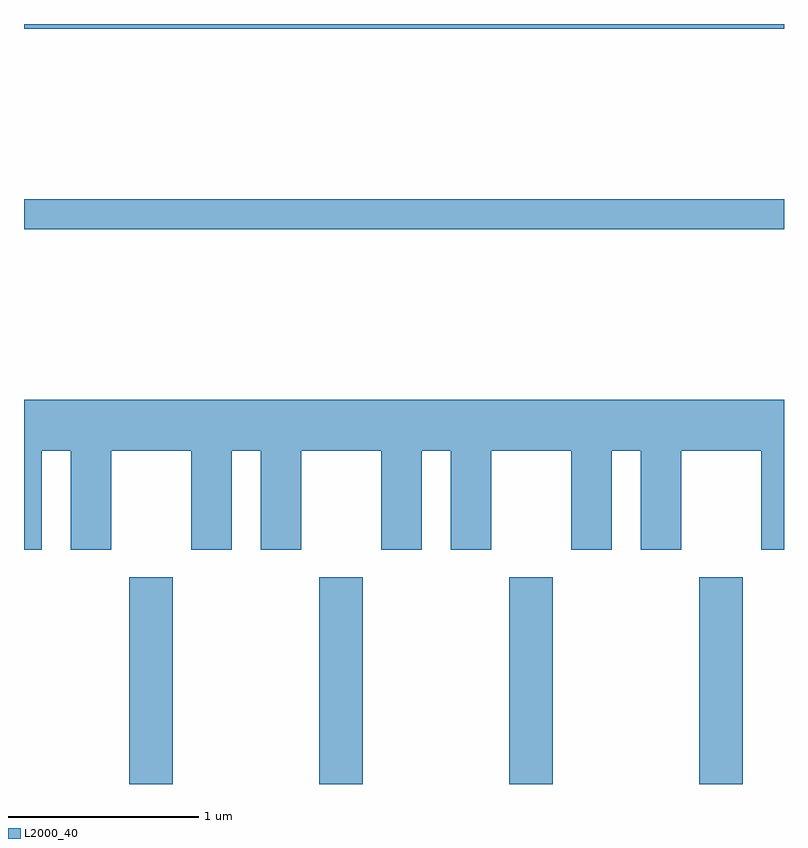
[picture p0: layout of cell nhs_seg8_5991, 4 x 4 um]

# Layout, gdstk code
import gdstk
lib = gdstk.Library(unit=1e-6, precision=1e-09)
def R(c, l, rs):  # rectangles x0, y0, x1, y1
    for r in rs: c.add(gdstk.rectangle(r[:2], r[2:], *l))
def A(c, l, x, y, w, h, nx, ny, dx, dy):  # array of equal rectangles
    R(c, l, [(x+i*dx, y+j*dy, x+i*dx+w, y+j*dy+h) for i in range(nx) for j in range(ny)])
def P(c, l, *ps):  # polygons
    for p in ps: c.add(gdstk.Polygon(p, *l))
L2000_40 = (2000, 40)

nhs_seg8_5991 = lib.new_cell('nhs_seg8_5991')
A(nhs_seg8_5991, L2000_40, 364.166, 1932.342, 0.228, 1.087, 4, 1, 1, 0)
R(nhs_seg8_5991, L2000_40, [(363.611,1935.261,367.611,1935.419), (363.611,1936.316,367.611,1936.342)])
P(nhs_seg8_5991, L2000_40, [(363.704,1934.096),(363.856,1934.096),(363.856,1933.576),(364.069,1933.576),(364.069,1934.096),(364.491,1934.096),(364.491,1933.576),(364.704,1933.576),(364.704,1934.096),(364.856,1934.096),(364.856,1933.576),(365.069,1933.576),(365.069,1934.096),(365.491,1934.096),(365.491,1933.576),(365.704,1933.576),(365.704,1934.096),(365.856,1934.096),(365.856,1933.576),(366.069,1933.576),(366.069,1934.096),(366.491,1934.096),(366.491,1933.576),(366.704,1933.576),(366.704,1934.096),(366.856,1934.096),(366.856,1933.576),(367.069,1933.576),(367.069,1934.096),(367.491,1934.096),(367.491,1933.576),(367.611,1933.576),(367.611,1934.364),(363.611,1934.364),(363.611,1933.576),(363.704,1933.576)])

lib.write_gds('nhs_seg8_5991.gds')
